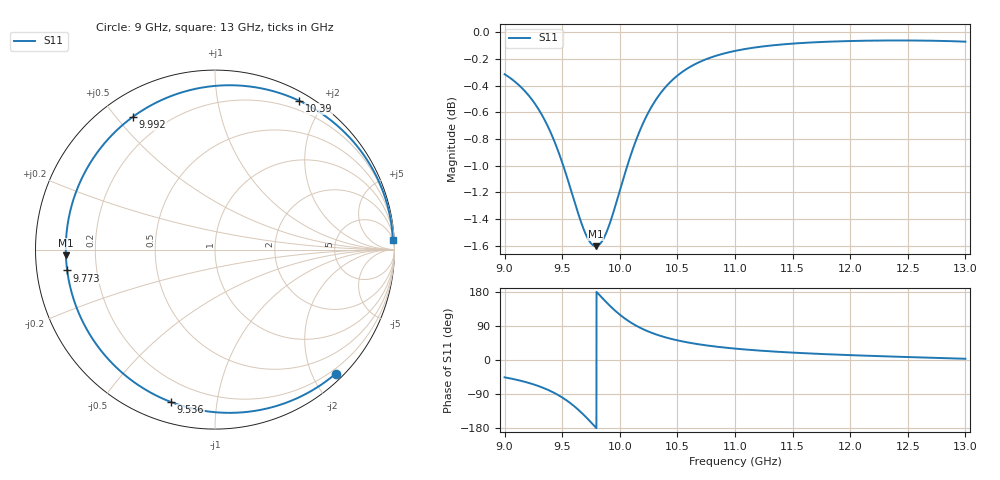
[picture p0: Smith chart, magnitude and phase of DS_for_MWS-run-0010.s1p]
! TOUCHSTONE file generated by CST DESIGN STUDIO
! Date and time: Wed Feb  5 13:34:32 2025
! Project name: C:\Work\MatlabApps\UnitCellOptimizationMatlab\CST\unitcell.cst
! Tree item: Tasks\Sweep1\SPara1\S-Parameters
! Header version: 2024
! Port assignment regex: !\s*Touchstone port\s*([0-9]+)\s*=\s*(CST MWS port|CST DES external port|CST DES block port)\s*(.+)\s* \(\"(.*)\"\)(\s*mode\s*([0-9]+))?.*
! Touchstone port assignment:
! Touchstone port 1 = CST DES external port 1 ("")
# GHz S MA R 50
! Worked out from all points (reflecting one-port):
!   4001 points, 9 GHz to 13 GHz, reference 50 ohm
!   lowest |S11| = -1.6 dB at 9.791 GHz (marker M1), VSWR 10.87, Z = 4.6 - j0.917 ohm
!   phase of S11 starts at -46 deg and turns -311 deg over the sweep
!   S11 on the Smith chart (normalised r, x): 9 GHz: 0.12, -2.37; 9.536 GHz: 0.10, -0.75; 9.773 GHz: 0.09, -0.07; 9.992 GHz: 0.09, +0.55; 10.39 GHz: 0.10, +1.71; 13 GHz: 5, +35
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9  0.9644 -45.7
9.143  0.9537 -55.0
9.274  0.9387 -66.6
9.388  0.9195 -80.4
9.448  0.9066 -89.6
9.5  0.8937 -98.9
9.536  0.884 -106.1
9.595  0.8673 -119.6
9.651  0.8521 -134.4
9.716  0.838 -153.7
9.773  0.8319 -172.0
9.791  0.8315 -177.9
9.834  0.8337 168.0
9.879  0.8404 153.7
9.936  0.8538 136.7
9.992  0.8698 121.7
10  0.8722 119.7
10.071  0.8928 103.7
10.152  0.9136 88.9
10.266  0.9362 73.0
10.389  0.9529 60.4
10.5  0.9632 51.9
10.717  0.9757 40.0
11  0.984 30.1
11.5  0.9902 19.5
12  0.9924 12.8
12.5  0.9929 7.8
13  0.9919 3.3
